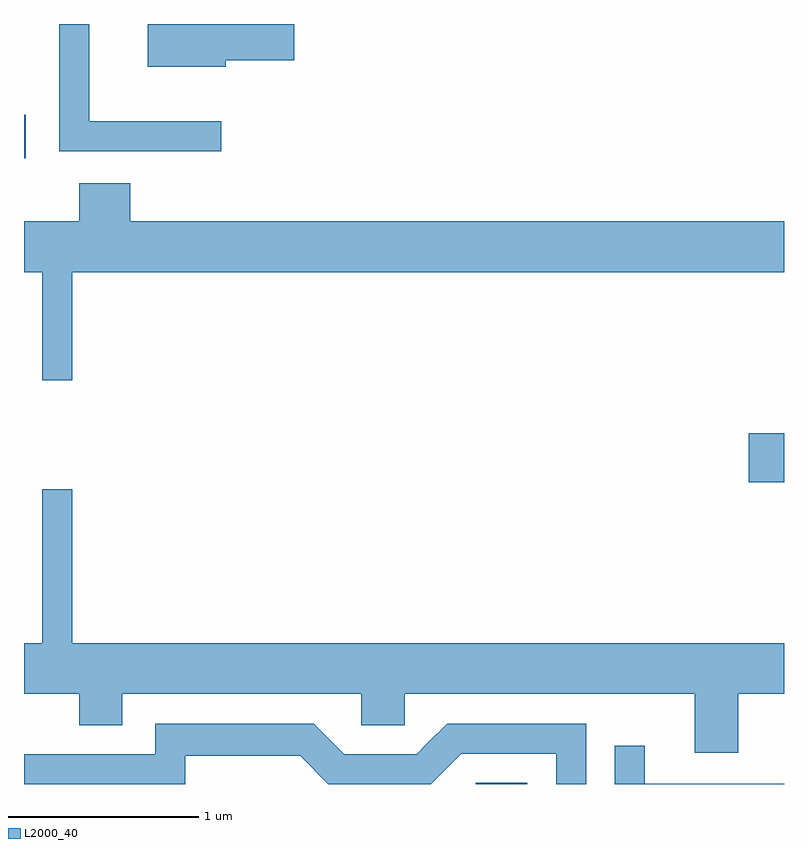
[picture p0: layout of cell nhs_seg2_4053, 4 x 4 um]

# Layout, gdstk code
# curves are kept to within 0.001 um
import gdstk
lib = gdstk.Library(unit=1e-6, precision=1e-09)
def R(c, l, rs):  # rectangles x0, y0, x1, y1
    for r in rs: c.add(gdstk.rectangle(r[:2], r[2:], *l))
def P(c, l, *ps):  # polygons
    for p in ps: c.add(gdstk.Polygon(p, *l))
L2000_40 = (2000, 40)

nhs_seg2_4053 = lib.new_cell('nhs_seg2_4053')
R(nhs_seg2_4053, L2000_40, [(305.988,1087.802,306.259,1087.809), (307.426,1089.391,307.611,1089.649), (303.611,1091.096,303.619,1091.324)])
P(nhs_seg2_4053, L2000_40, [(304.674,1091.611),(305.034,1091.611),(305.034,1091.802),(304.261,1091.802),(304.261,1091.576),(304.674,1091.576)],
  [(304.648,1091.289),(303.954,1091.289),(303.954,1091.802),(303.796,1091.802),(303.796,1091.131),(304.648,1091.131)],
  [(303.864,1090.496),(307.611,1090.496),(307.611,1090.764),(304.169,1090.764),(304.169,1090.964),(303.901,1090.964),(303.901,1090.764),(303.611,1090.764),(303.611,1090.496),(303.706,1090.496),(303.706,1089.928),(303.864,1089.928)],
  [(307.369,1088.276),(307.611,1088.276),(307.611,1088.544),(303.864,1088.544),(303.864,1089.353),(303.706,1089.353),(303.706,1088.544),(303.611,1088.544),(303.611,1088.276),(303.901,1088.276),(303.901,1088.111),(304.129,1088.111),(304.129,1088.276),(305.386,1088.276),(305.386,1088.111),(305.614,1088.111),(305.614,1088.276),(307.141,1088.276),(307.141,1087.966),(307.369,1087.966)],
  [(304.459,1087.951),(305.064,1087.951),(305.213,1087.802),(305.753,1087.802),(305.912,1087.961),(306.411,1087.961),(306.411,1087.802),(306.569,1087.802),(306.569,1088.119),(305.839,1088.119),(305.679,1087.959),(305.297,1087.959),(305.137,1088.119),(304.301,1088.119),(304.301,1087.959),(303.611,1087.959),(303.611,1087.802),(304.459,1087.802)],
  [(307.611,1087.804),(306.879,1087.804),(306.879,1088.003),(306.721,1088.003),(306.721,1087.802),(307.611,1087.802)])

lib.write_gds('nhs_seg2_4053.gds')
